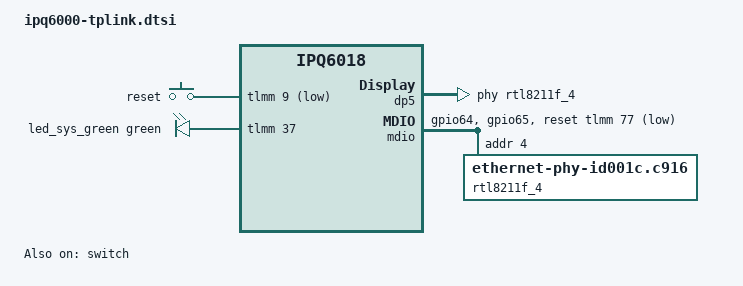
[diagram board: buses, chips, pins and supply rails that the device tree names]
// SPDX-License-Identifier: GPL-2.0-or-later OR MIT

#include "ipq6018.dtsi"
#include "ipq6018-ess.dtsi"
#include "ipq6018-nss.dtsi"
#include "ipq6018-common.dtsi"
#include "ipq6018-cp-cpu.dtsi"

#include <dt-bindings/gpio/gpio.h>
#include <dt-bindings/input/input.h>
#include <dt-bindings/leds/common.h>

/ {
	aliases {
		serial0 = &blsp1_uart3;
		led-boot = &led_sys_green;
		led-failsafe = &led_sys_green;
		led-running = &led_sys_green;
		led-upgrade = &led_sys_green;
	};

	chosen {
		stdout-path = "serial0:115200n8";
		bootargs-append = " root=/dev/ubiblock0_1";
	};

	keys {
		compatible = "gpio-keys";

		reset {
			label = "reset";
			gpios = <&tlmm 9 GPIO_ACTIVE_LOW>;
			linux,code = <KEY_RESTART>;
		};
	};

	leds {
		compatible = "gpio-leds";

		led_sys_green: sys-green {
			color = <LED_COLOR_ID_GREEN>;
			function = LED_FUNCTION_STATUS;
			gpios = <&tlmm 37 GPIO_ACTIVE_HIGH>;
		};
	};
};

&tlmm {
	mdio_pins: mdio-pins {
		mdc {
			pins = "gpio64";
			function = "mdc";
			drive-strength = <8>;
			bias-pull-up;
		};

		mdio {
			pins = "gpio65";
			function = "mdio";
			drive-strength = <8>;
			bias-pull-up;
		};
	};
};

&dp5 {
	status = "okay";
	phy-handle = <&rtl8211f_4>;
	label = "lan";
};

&edma {
	status = "okay";
};

&mdio {
	status = "okay";
	pinctrl-0 = <&mdio_pins>;
	pinctrl-names = "default";
	reset-gpios = <&tlmm 77 GPIO_ACTIVE_LOW>;

	rtl8211f_4: ethernet-phy@4 {
		compatible = "ethernet-phy-id001c.c916";
		reg = <4>;

		realtek,clkout-disable;
		realtek,aldps-enable;
	};
};

&switch {
	switch_lan_bmp = <ESS_PORT5>;
	switch_mac_mode1 = <MAC_MODE_SGMII_PLUS>;
	status = "okay";

	qcom,port_phyinfo {
		port@5 {
			port_id = <5>;
			phy_address = <4>;
			port_mac_sel = "QGMAC_PORT";
		};
	};
};
